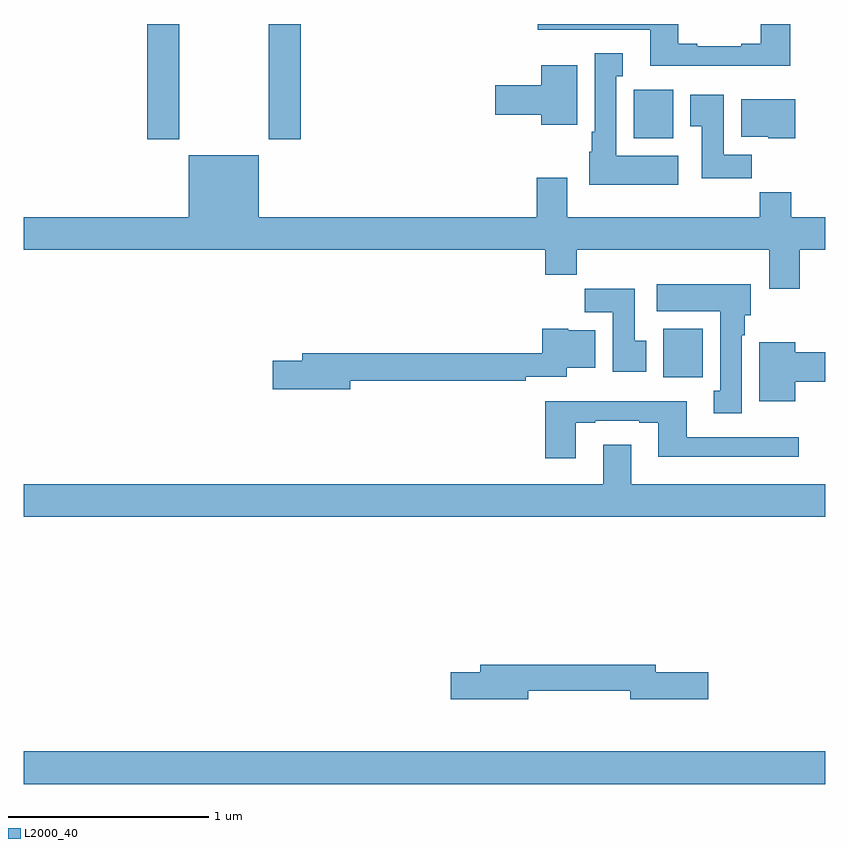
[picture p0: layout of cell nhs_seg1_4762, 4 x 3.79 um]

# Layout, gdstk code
import gdstk
lib = gdstk.Library(unit=1e-6, precision=1e-09)
def R(c, l, rs):  # rectangles x0, y0, x1, y1
    for r in rs: c.add(gdstk.rectangle(r[:2], r[2:], *l))
def P(c, l, *ps):  # polygons
    for p in ps: c.add(gdstk.Polygon(p, *l))
L2000_40 = (2000, 40)

nhs_seg1_4762 = lib.new_cell('nhs_seg1_4762')
R(nhs_seg1_4762, L2000_40, [(369,542.408,373,542.572), (372.191,544.436,372.388,544.678), (369.617,545.625,369.777,546.199), (370.222,545.625,370.382,546.199), (372.044,545.63,372.241,545.872)])
P(nhs_seg1_4762, L2000_40, [(372.825,546.199),(372.677,546.199),(372.677,546.1),(372.581,546.1),(372.581,546.087),(372.361,546.087),(372.361,546.1),(372.265,546.1),(372.265,546.199),(371.565,546.199),(371.565,546.171),(372.125,546.171),(372.125,545.99),(372.825,545.99)],
  [(372.265,545.542),(371.956,545.542),(371.956,545.939),(371.989,545.939),(371.989,546.052),(371.849,546.052),(371.849,545.662),(371.834,545.662),(371.834,545.562),(371.822,545.562),(371.822,545.396),(372.265,545.396)],
  [(371.761,545.992),(371.582,545.992),(371.582,545.894),(371.352,545.894),(371.352,545.747),(371.582,545.747),(371.582,545.696),(371.761,545.696)],
  [(372.632,545.548),(372.493,545.548),(372.493,545.845),(372.326,545.845),(372.326,545.689),(372.383,545.689),(372.383,545.43),(372.632,545.43)],
  [(372.85,545.824),(372.581,545.824),(372.581,545.636),(372.714,545.636),(372.714,545.63),(372.85,545.63)],
  [(372.872,545.072),(373,545.072),(373,545.236),(372.83,545.236),(372.83,545.36),(372.673,545.36),(372.673,545.236),(371.713,545.236),(371.713,545.431),(371.561,545.431),(371.561,545.236),(370.174,545.236),(370.174,545.545),(369.824,545.545),(369.824,545.236),(369,545.236),(369,545.072),(371.603,545.072),(371.603,544.948),(371.759,544.948),(371.759,545.072),(372.719,545.072),(372.719,544.878),(372.872,544.878)],
  [(372.583,544.646),(372.598,544.646),(372.598,544.746),(372.628,544.746),(372.628,544.9),(372.159,544.9),(372.159,544.766),(372.476,544.766),(372.476,544.37),(372.443,544.37),(372.443,544.257),(372.583,544.257)],
  [(372.106,544.62),(372.049,544.62),(372.049,544.879),(371.8,544.879),(371.8,544.76),(371.939,544.76),(371.939,544.464),(372.106,544.464)],
  [(370.63,544.42),(371.504,544.42),(371.504,544.44),(371.71,544.44),(371.71,544.484),(371.851,544.484),(371.851,544.672),(371.718,544.672),(371.718,544.678),(371.588,544.678),(371.588,544.556),(370.391,544.556),(370.391,544.52),(370.242,544.52),(370.242,544.378),(370.63,544.378)],
  [(372.85,544.415),(373,544.415),(373,544.562),(372.85,544.562),(372.85,544.612),(372.671,544.612),(372.671,544.316),(372.85,544.316)],
  [(371.755,544.209),(371.851,544.209),(371.851,544.221),(372.071,544.221),(372.071,544.209),(372.167,544.209),(372.167,544.04),(372.868,544.04),(372.868,544.137),(372.307,544.137),(372.307,544.318),(371.603,544.318),(371.603,544.032),(371.755,544.032)],
  [(373,543.904),(372.031,543.904),(372.031,544.099),(371.891,544.099),(371.891,543.904),(369,543.904),(369,543.74),(373,543.74)],
  [(371.518,542.874),(372.026,542.874),(372.026,542.831),(372.415,542.831),(372.415,542.966),(372.154,542.966),(372.154,543.002),(371.279,543.002),(371.279,542.966),(371.13,542.966),(371.13,542.831),(371.518,542.831)])

lib.write_gds('nhs_seg1_4762.gds')
